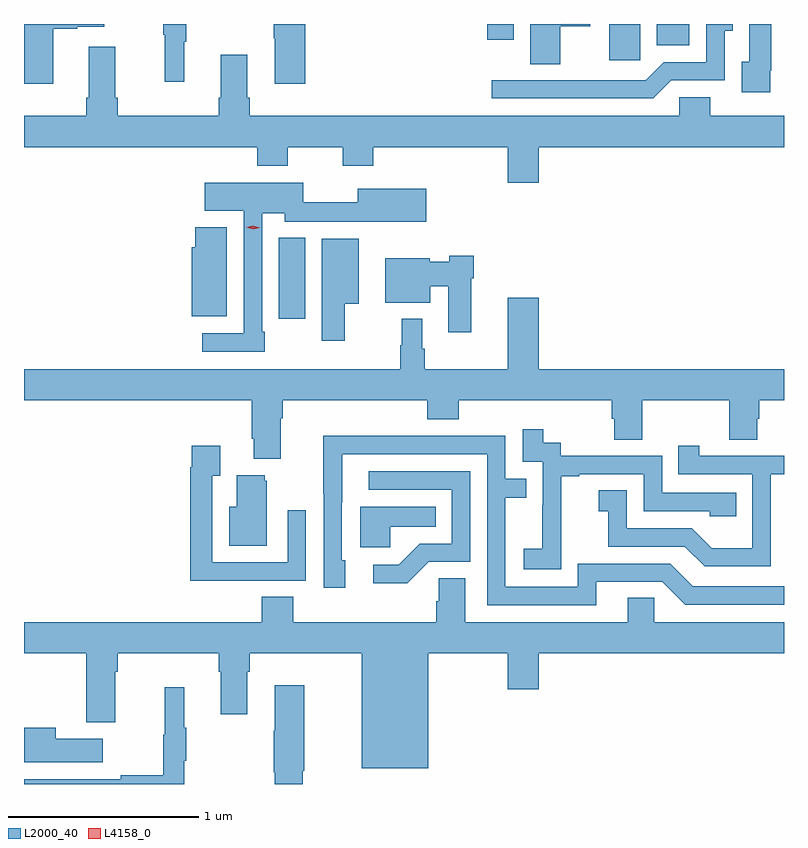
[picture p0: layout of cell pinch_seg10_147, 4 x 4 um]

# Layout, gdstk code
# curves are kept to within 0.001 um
import gdstk
lib = gdstk.Library(unit=1e-6, precision=1e-09)
def R(c, l, rs):  # rectangles x0, y0, x1, y1
    for r in rs: c.add(gdstk.rectangle(r[:2], r[2:], *l))
def P(c, l, *ps):  # polygons
    for p in ps: c.add(gdstk.Polygon(p, *l))
L2000_40 = (2000, 40)
L4158_0 = (4158, 0)

pinch_seg10_147 = lib.new_cell('pinch_seg10_147')
R(pinch_seg10_147, L2000_40, [(667.301,1279.434,667.438,1279.859), (669.038,1280.793,669.202,1280.984), (669.29,1280.873,669.46,1280.984), (668.396,1280.901,668.536,1280.984)])
P(pinch_seg10_147, L2000_40, [(669.886,1280.737),(669.893,1280.737),(669.893,1280.984),(669.777,1280.984),(669.777,1280.785),(669.737,1280.785),(669.737,1280.625),(669.886,1280.625)],
  [(666.112,1280.959),(666.239,1280.959),(666.239,1280.969),(666.382,1280.969),(666.382,1280.984),(665.959,1280.984),(665.959,1280.67),(666.112,1280.67)],
  [(669.366,1280.688),(669.646,1280.688),(669.646,1280.948),(669.688,1280.948),(669.688,1280.984),(669.549,1280.984),(669.549,1280.784),(669.327,1280.784),(669.231,1280.688),(668.421,1280.688),(668.421,1280.592),(669.27,1280.592)],
  [(667.439,1280.984),(667.273,1280.984),(667.273,1280.908),(667.28,1280.908),(667.28,1280.67),(667.439,1280.67)],
  [(668.782,1280.972),(668.938,1280.972),(668.938,1280.984),(668.624,1280.984),(668.624,1280.773),(668.782,1280.773)],
  [(666.803,1280.891),(666.814,1280.891),(666.814,1280.984),(666.693,1280.984),(666.693,1280.928),(666.7,1280.928),(666.7,1280.679),(666.803,1280.679)],
  [(668.668,1280.336),(669.959,1280.336),(669.959,1280.5),(669.572,1280.5),(669.572,1280.598),(669.408,1280.598),(669.408,1280.5),(667.148,1280.5),(667.148,1280.596),(667.135,1280.596),(667.135,1280.821),(666.995,1280.821),(666.995,1280.596),(666.983,1280.596),(666.983,1280.5),(666.452,1280.5),(666.452,1280.596),(666.439,1280.596),(666.439,1280.863),(666.299,1280.863),(666.299,1280.596),(666.287,1280.596),(666.287,1280.5),(665.959,1280.5),(665.959,1280.336),(667.187,1280.336),(667.187,1280.237),(667.347,1280.237),(667.347,1280.336),(667.636,1280.336),(667.636,1280.237),(667.796,1280.237),(667.796,1280.336),(668.504,1280.336),(668.504,1280.148),(668.668,1280.148)],
  [(667.225,1279.363),(667.212,1279.363),(667.212,1279.988),(667.332,1279.988),(667.332,1279.944),(667.819,1279.944),(667.819,1279.943),(668.077,1279.943),(668.077,1280.116),(667.715,1280.116),(667.715,1280.045),(667.428,1280.045),(667.428,1280.149),(666.909,1280.149),(666.909,1280),(667.116,1280),(667.116,1279.356),(666.897,1279.356),(666.897,1279.26),(667.225,1279.26)],
  [(667.027,1279.915),(666.86,1279.915),(666.86,1279.809),(666.842,1279.809),(666.842,1279.445),(667.027,1279.445)],
  [(667.648,1279.511),(667.72,1279.511),(667.72,1279.855),(667.526,1279.855),(667.526,1279.317),(667.648,1279.317)],
  [(668.314,1279.646),(668.327,1279.646),(668.327,1279.763),(668.196,1279.763),(668.196,1279.732),(668.094,1279.732),(668.094,1279.75),(667.859,1279.75),(667.859,1279.517),(668.098,1279.517),(668.098,1279.603),(668.192,1279.603),(668.192,1279.362),(668.314,1279.362)],
  [(667.309,1278.908),(667.322,1278.908),(667.322,1279.004),(668.081,1279.004),(668.081,1278.905),(668.246,1278.905),(668.246,1279.004),(669.053,1279.004),(669.053,1278.906),(669.065,1278.906),(669.065,1278.796),(669.213,1278.796),(669.213,1279.004),(669.67,1279.004),(669.67,1278.796),(669.817,1278.796),(669.817,1278.906),(669.83,1278.906),(669.83,1279.004),(669.959,1279.004),(669.959,1279.168),(668.668,1279.168),(668.668,1279.543),(668.504,1279.543),(668.504,1279.168),(668.068,1279.168),(668.068,1279.274),(668.056,1279.274),(668.056,1279.432),(667.947,1279.432),(667.947,1279.292),(667.939,1279.292),(667.939,1279.168),(665.959,1279.168),(665.959,1279.004),(667.157,1279.004),(667.157,1278.802),(667.169,1278.802),(667.169,1278.695),(667.309,1278.695)],
  [(668.787,1278.319),(668.786,1278.319),(668.786,1278.603),(668.881,1278.603),(668.881,1278.615),(669.222,1278.615),(669.222,1278.42),(669.567,1278.42),(669.567,1278.393),(669.707,1278.393),(669.707,1278.516),(669.318,1278.516),(669.318,1278.711),(668.784,1278.711),(668.784,1278.78),(668.692,1278.78),(668.692,1278.85),(668.583,1278.85),(668.583,1278.681),(668.688,1278.681),(668.688,1278.452),(668.687,1278.452),(668.687,1278.223),(668.589,1278.223),(668.589,1278.113),(668.787,1278.113)],
  [(668.971,1278.048),(669.318,1278.048),(669.438,1277.928),(669.959,1277.928),(669.959,1278.024),(669.48,1278.024),(669.36,1278.144),(668.874,1278.144),(668.874,1278.021),(668.493,1278.021),(668.493,1278.49),(668.603,1278.49),(668.603,1278.591),(668.493,1278.591),(668.493,1278.816),(667.997,1278.816),(667.997,1278.818),(667.534,1278.818),(667.534,1278.511),(667.536,1278.511),(667.536,1278.018),(667.651,1278.018),(667.651,1278.162),(667.632,1278.162),(667.633,1278.72),(668.397,1278.72),(668.397,1277.925),(668.971,1277.925)],
  [(667.127,1278.054),(667.443,1278.054),(667.443,1278.424),(667.347,1278.424),(667.347,1278.15),(666.951,1278.15),(666.951,1278.607),(666.991,1278.607),(666.991,1278.763),(666.843,1278.763),(666.843,1278.65),(666.835,1278.65),(666.835,1278.053),(667.127,1278.053)],
  [(669.888,1278.615),(669.959,1278.615),(669.959,1278.711),(669.514,1278.711),(669.514,1278.763),(669.403,1278.763),(669.403,1278.615),(669.792,1278.615),(669.792,1278.226),(669.578,1278.226),(669.474,1278.33),(669.132,1278.33),(669.132,1278.529),(668.985,1278.529),(668.985,1278.419),(669.034,1278.419),(669.034,1278.234),(669.437,1278.234),(669.542,1278.129),(669.888,1278.129)],
  [(668.088,1278.153),(668.307,1278.153),(668.307,1278.63),(667.773,1278.63),(667.773,1278.534),(668.211,1278.534),(668.211,1278.249),(668.042,1278.249),(667.931,1278.138),(667.797,1278.138),(667.797,1278.041),(667.975,1278.041)],
  [(667.237,1278.579),(667.226,1278.579),(667.226,1278.61),(667.079,1278.61),(667.079,1278.442),(667.04,1278.442),(667.04,1278.239),(667.237,1278.239)],
  [(667.887,1278.338),(668.126,1278.338),(668.126,1278.442),(667.73,1278.442),(667.73,1278.23),(667.887,1278.23)],
  [(667.211,1277.969),(667.211,1277.836),(665.959,1277.836),(665.959,1277.672),(666.287,1277.672),(666.287,1277.31),(666.439,1277.31),(666.439,1277.576),(666.452,1277.576),(666.452,1277.672),(666.983,1277.672),(666.983,1277.576),(666.995,1277.576),(666.995,1277.352),(667.135,1277.352),(667.135,1277.576),(667.148,1277.576),(667.148,1277.672),(667.736,1277.672),(667.736,1277.066),(668.086,1277.066),(668.086,1277.672),(668.504,1277.672),(668.504,1277.484),(668.668,1277.484),(668.668,1277.672),(669.959,1277.672),(669.959,1277.836),(669.276,1277.836),(669.276,1277.963),(669.137,1277.963),(669.137,1277.836),(668.281,1277.836),(668.281,1278.068),(668.142,1278.068),(668.142,1277.945),(668.129,1277.945),(668.129,1277.836),(667.376,1277.836),(667.376,1277.969)],
  [(667.426,1277.053),(667.434,1277.053),(667.434,1277.503),(667.28,1277.503),(667.28,1277.264),(667.273,1277.264),(667.273,1277.047),(667.28,1277.047),(667.28,1276.984),(667.426,1276.984)],
  [(666.803,1277.107),(666.814,1277.107),(666.814,1277.281),(666.803,1277.281),(666.803,1277.494),(666.7,1277.494),(666.7,1277.244),(666.693,1277.244),(666.693,1277.03),(666.469,1277.03),(666.469,1277.01),(665.959,1277.01),(665.959,1276.984),(666.803,1276.984)],
  [(666.373,1277.221),(666.125,1277.221),(666.125,1277.281),(665.959,1277.281),(665.959,1277.099),(666.373,1277.099)])
P(pinch_seg10_147, L4158_0, [(667.165,1279.903),(667.13,1279.913),(667.13,1279.914),(667.13,1279.914),(667.165,1279.923),(667.2,1279.912),(667.2,1279.912),(667.2,1279.912)])

lib.write_gds('pinch_seg10_147.gds')
